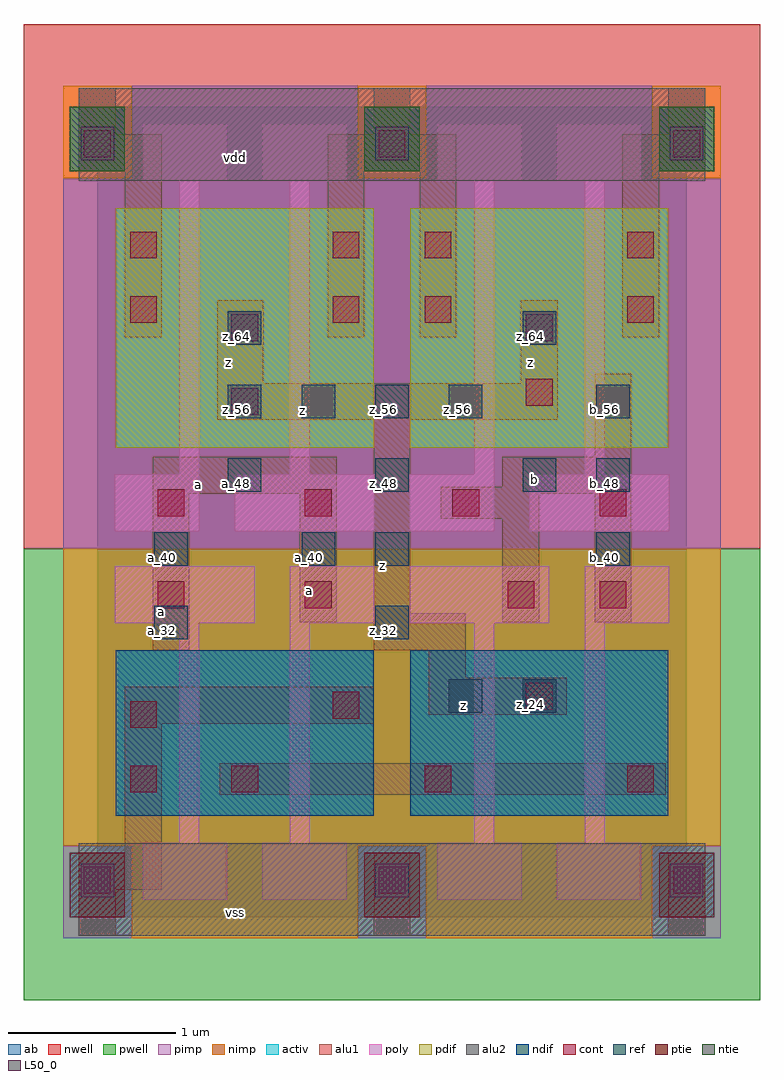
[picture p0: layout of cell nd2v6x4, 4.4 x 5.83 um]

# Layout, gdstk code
import gdstk
lib = gdstk.Library(unit=1e-6, precision=2.5e-09)
def R(c, l, rs):  # rectangles x0, y0, x1, y1
    for r in rs: c.add(gdstk.rectangle(r[:2], r[2:], *l))
def A(c, l, x, y, w, h, nx, ny, dx, dy):  # array of equal rectangles
    R(c, l, [(x+i*dx, y+j*dy, x+i*dx+w, y+j*dy+h) for i in range(nx) for j in range(ny)])
ndif = (3, 0)
pdif = (4, 0)
ntie = (5, 0)
ptie = (6, 0)
ref = (24, 0)
cont = (25, 0)
pwell = (41, 0)
nwell = (42, 0)
activ = (43, 0)
pimp = (44, 0)
nimp = (45, 0)
poly = (46, 0)
alu1 = (49, 0)
L50_0 = (50, 0)
alu2 = (51, 0)
ab = (63, 0)

nd2v6x4 = lib.new_cell('nd2v6x4')
R(nd2v6x4, ndif, [(0.11,0.605,1.65,1.595), (1.87,0.605,3.41,1.595)])
R(nd2v6x4, pdif, [(0.11,2.805,1.65,4.235), (1.87,2.805,3.41,4.235)])
A(nd2v6x4, ntie, -0.165, 4.455, 0.33, 0.385, 3, 1, 1.76, 0)
A(nd2v6x4, ptie, -0.165, 0, 0.33, 0.385, 3, 1, 1.76, 0)
A(nd2v6x4, ref, 2.98, 2.1, 0.2, 0.2, 1, 3, 0, 0.44)
A(nd2v6x4, ref, 0.78, 2.54, 0.2, 0.2, 3, 1, 0.88, 0)
A(nd2v6x4, ref, 0.78, 2.98, 0.2, 0.2, 4, 1, 0.44, 0)
R(nd2v6x4, ref, [(2.1,1.22,2.3,1.42), (2.54,1.22,2.74,1.42), (0.34,1.66,0.54,1.86), (1.66,1.66,1.86,1.86), (0.34,2.1,0.54,2.3), (1.22,2.1,1.42,2.3), (1.66,2.1,1.86,2.3), (0.78,3.42,0.98,3.62), (2.54,3.42,2.74,3.62)])
A(nd2v6x4, cont, -0.08, 0.14, 0.16, 0.16, 3, 2, 1.76, 4.4)
A(nd2v6x4, cont, 0.36, 2.395, 0.16, 0.16, 4, 1, 0.88, 0)
R(nd2v6x4, cont, [(0.195,0.745,0.355,0.905), (0.8,0.745,0.96,0.905), (1.955,0.745,2.115,0.905), (3.165,0.745,3.325,0.905), (0.195,1.13,0.355,1.29), (1.405,1.185,1.565,1.345), (2.56,1.24,2.72,1.4), (0.36,1.845,0.52,2.005), (1.24,1.845,1.4,2.005), (2.45,1.845,2.61,2.005), (3,1.845,3.16,2.005), (0.8,3,0.96,3.16), (2.56,3.055,2.72,3.215), (0.8,3.44,0.96,3.6), (2.56,3.44,2.72,3.6), (0.195,3.55,0.355,3.71), (1.405,3.55,1.565,3.71), (1.955,3.55,2.115,3.71), (3.165,3.55,3.325,3.71), (0.195,3.935,0.355,4.095), (1.405,3.935,1.565,4.095), (1.955,3.935,2.115,4.095), (3.165,3.935,3.325,4.095)])
R(nd2v6x4, pwell, [(-0.44,-0.495,3.96,2.2)])
R(nd2v6x4, nwell, [(-0.44,2.2,3.96,5.335)])
A(nd2v6x4, activ, -0.165, 0, 0.33, 0.385, 3, 2, 1.76, 4.455)
R(nd2v6x4, activ, [(0.11,0.605,1.65,1.595), (1.87,0.605,3.41,1.595), (0.11,2.805,1.65,4.235), (1.87,2.805,3.41,4.235)])
A(nd2v6x4, pimp, -0.205, -0.125, 0.41, 0.55, 3, 1, 1.76, 0)
R(nd2v6x4, pimp, [(-0.205,2.2,3.725,4.415), (0.205,4.415,1.555,4.965), (1.965,4.415,3.315,4.965)])
A(nd2v6x4, nimp, -0.205, 4.415, 0.41, 0.55, 3, 1, 1.76, 0)
R(nd2v6x4, nimp, [(0.205,-0.125,1.555,0.425), (1.965,-0.125,3.315,0.425), (-0.205,0.425,3.725,2.2)])
R(nd2v6x4, poly, [(0.27,0.105,0.775,0.445), (0.985,0.105,1.49,0.445), (2.03,0.105,2.535,0.445), (2.745,0.105,3.25,0.445), (0.49,0.445,0.61,1.755), (1.15,0.445,1.27,1.755), (2.25,0.445,2.37,1.755), (2.91,0.445,3.03,1.755), (0.105,1.755,0.94,2.095), (1.15,1.755,1.655,2.095), (1.865,1.755,2.7,2.095), (2.91,1.755,3.415,2.095), (0.105,2.305,0.61,2.645), (0.82,2.305,1.655,2.645), (1.865,2.305,2.37,2.645), (2.58,2.305,3.415,2.645), (0.49,2.645,0.61,4.395), (1.15,2.645,1.27,4.395), (2.25,2.645,2.37,4.395), (2.91,2.645,3.03,4.395), (0.27,4.395,0.775,4.735), (0.985,4.395,1.49,4.735), (2.03,4.395,2.535,4.735), (2.745,4.395,3.25,4.735)])
A(nd2v6x4, alu1, -0.11, 4.675, 0.22, 0.275, 3, 1, 1.76, 0)
R(nd2v6x4, alu1, [(-0.11,-0.11,0.11,0.165), (1.65,-0.11,1.87,0.385), (3.41,-0.11,3.63,0.385), (-0.11,0.165,0.385,0.385), (0.165,0.385,0.385,1.155), (0.73,0.73,3.395,0.92), (0.165,1.155,1.65,1.375), (1.98,1.21,2.805,1.43), (1.98,1.43,2.2,1.595), (0.33,1.595,0.55,2.53), (1.65,1.595,2.2,1.815), (1.21,1.76,1.43,2.53), (2.42,1.76,2.64,2.38), (2.97,1.76,3.19,2.53), (1.65,1.815,1.87,2.97), (2.05,2.38,2.64,2.53), (0.33,2.53,1.43,2.75), (2.05,2.53,3.19,2.57), (2.42,2.57,3.19,2.75), (2.97,2.75,3.19,3.245), (0.715,2.97,2.75,3.19), (0.715,3.19,0.99,3.685), (2.53,3.19,2.75,3.685), (0.165,3.465,0.385,4.455), (1.375,3.465,1.595,4.455), (1.925,3.465,2.145,4.455), (3.135,3.465,3.355,4.455), (-0.11,4.455,0.385,4.675), (1.375,4.455,2.145,4.675), (3.135,4.455,3.63,4.675)])
A(nd2v6x4, L50_0, -0.1, 0.12, 0.2, 0.2, 3, 2, 1.76, 4.4)
R(nd2v6x4, alu2, [(-0.11,-0.11,3.63,0.44), (-0.11,4.4,3.63,4.95)])
R(nd2v6x4, ab, [(0,0,3.52,4.84)])
nd2v6x4.add(gdstk.Label('z', (2.185,1.265), layer=49, texttype=0))
nd2v6x4.add(gdstk.Label('b', (2.6125,2.615), layer=49, texttype=0))
nd2v6x4.add(gdstk.Label('z', (1.705,2.1025), layer=49, texttype=0))
nd2v6x4.add(gdstk.Label('a', (1.265,1.9525), layer=49, texttype=0))
nd2v6x4.add(gdstk.Label('a', (0.385,1.8275), layer=49, texttype=0))
nd2v6x4.add(gdstk.Label('a', (0.605,2.585), layer=49, texttype=0))
nd2v6x4.add(gdstk.Label('z', (1.2225,3.025), layer=49, texttype=0))
nd2v6x4.add(gdstk.Label('z', (2.585,3.3125), layer=49, texttype=0))
nd2v6x4.add(gdstk.Label('z', (0.7825,3.3125), layer=49, texttype=0))
nd2v6x4.add(gdstk.Label('vss', (0.825,0.0275), layer=51, texttype=0))
nd2v6x4.add(gdstk.Label('vdd', (0.825,4.5375), layer=51, texttype=0))
nd2v6x4.add(gdstk.Label('b_48', (2.59,2.59), layer=24, texttype=0))
nd2v6x4.add(gdstk.Label('z_56', (2.15,3.03), layer=24, texttype=0))
nd2v6x4.add(gdstk.Label('z_56', (0.83,3.03), layer=24, texttype=0))
nd2v6x4.add(gdstk.Label('z_56', (1.27,3.03), layer=24, texttype=0))
nd2v6x4.add(gdstk.Label('z_64', (2.59,3.47), layer=24, texttype=0))
nd2v6x4.add(gdstk.Label('z_24', (2.59,1.27), layer=24, texttype=0))
nd2v6x4.add(gdstk.Label('z_24', (2.15,1.27), layer=24, texttype=0))
nd2v6x4.add(gdstk.Label('a_48', (0.83,2.59), layer=24, texttype=0))
nd2v6x4.add(gdstk.Label('a_40', (1.27,2.15), layer=24, texttype=0))
nd2v6x4.add(gdstk.Label('b_56', (3.03,3.03), layer=24, texttype=0))
nd2v6x4.add(gdstk.Label('b_48', (3.03,2.59), layer=24, texttype=0))
nd2v6x4.add(gdstk.Label('b_40', (3.03,2.15), layer=24, texttype=0))
nd2v6x4.add(gdstk.Label('z_56', (1.71,3.03), layer=24, texttype=0))
nd2v6x4.add(gdstk.Label('z_48', (1.71,2.59), layer=24, texttype=0))
nd2v6x4.add(gdstk.Label('z_32', (1.71,1.71), layer=24, texttype=0))
nd2v6x4.add(gdstk.Label('z_40', (1.71,2.15), layer=24, texttype=0))
nd2v6x4.add(gdstk.Label('a_32', (0.39,1.71), layer=24, texttype=0))
nd2v6x4.add(gdstk.Label('z_64', (0.83,3.47), layer=24, texttype=0))
nd2v6x4.add(gdstk.Label('a_40', (0.39,2.15), layer=24, texttype=0))

lib.write_gds('nd2v6x4.gds')
